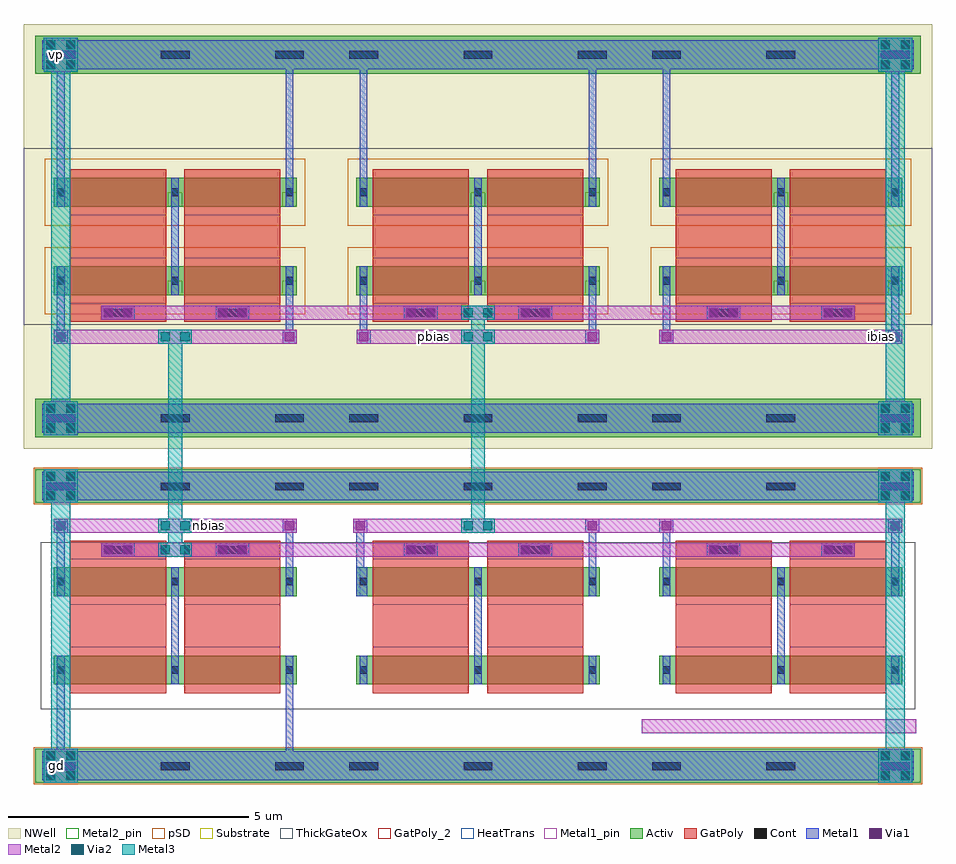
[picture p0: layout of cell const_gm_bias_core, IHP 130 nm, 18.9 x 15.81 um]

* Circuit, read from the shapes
.subckt const_gm_bias_core gd ibias nbias pbias vp
XM1 n1 nbias gd gd sg13_hv_nmos w=0.6u l=2u m=2
XM2 n1 nbias nbias gd sg13_hv_nmos w=0.6u l=2u m=2
XM3 n2 nbias n3 gd sg13_hv_nmos w=0.6u l=2u
XM4 n2 nbias pbias gd sg13_hv_nmos w=0.6u l=2u m=2
XM5 n4 nbias n2 gd sg13_hv_nmos w=0.6u l=2u
XM6 n5 nbias n6 gd sg13_hv_nmos w=0.6u l=2u
XM7 n5 nbias pbias gd sg13_hv_nmos w=0.6u l=2u m=2
XM8 n7 nbias n5 gd sg13_hv_nmos w=0.6u l=2u
XM9 n8 pbias nbias vp sg13_hv_pmos w=0.6u l=2u m=2
XM10 n8 pbias vp vp sg13_hv_pmos w=0.6u l=2u m=2
XM11 n9 pbias pbias vp sg13_hv_pmos w=0.6u l=2u m=2
XM12 n9 pbias vp vp sg13_hv_pmos w=0.6u l=2u m=2
XM13 n10 pbias ibias vp sg13_hv_pmos w=0.6u l=2u m=2
XM14 n10 pbias vp vp sg13_hv_pmos w=0.6u l=2u m=2
.ends

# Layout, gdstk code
import gdstk
lib = gdstk.Library(unit=1e-6, precision=1e-09)
def R(c, l, rs):  # rectangles x0, y0, x1, y1
    for r in rs: c.add(gdstk.rectangle(r[:2], r[2:], *l))
def A(c, l, x, y, w, h, nx, ny, dx, dy):  # array of equal rectangles
    R(c, l, [(x+i*dx, y+j*dy, x+i*dx+w, y+j*dy+h) for i in range(nx) for j in range(ny)])
Activ = (1, 0)
GatPoly = (5, 0)
GatPoly_2 = (5, 2)
Cont = (6, 0)
Metal1 = (8, 0)
Metal1_pin = (8, 2)
Metal2 = (10, 0)
Metal2_pin = (10, 2)
pSD = (14, 0)
Via1 = (19, 0)
Via2 = (29, 0)
Metal3 = (30, 0)
NWell = (31, 0)
Substrate = (40, 0)
ThickGateOx = (44, 0)
HeatTrans = (51, 0)

pmoshv_6 = lib.new_cell('pmosHV$6')
R(pmoshv_6, Activ, [(0,0,0.3,0.3), (0,0,2.68,0.6), (2.38,0,2.68,0.3)])
R(pmoshv_6, GatPoly, [(0.34,-0.18,2.34,0.78)])
R(pmoshv_6, GatPoly_2, [(0.34,-0.18,2.34,0.78)])
R(pmoshv_6, Cont, [(0.07,0.22,0.23,0.38), (2.45,0.22,2.61,0.38)])
R(pmoshv_6, Metal1, [(0.07,0,0.23,0.6), (2.45,0,2.61,0.6)])
R(pmoshv_6, Metal1_pin, [(0.07,0,0.23,0.6), (2.45,0,2.61,0.6)])
R(pmoshv_6, pSD, [(-0.18,-0.4,2.86,1)])
R(pmoshv_6, NWell, [(-0.62,-0.62,3.3,1.22)])
R(pmoshv_6, Substrate, [(2.38,0,2.68,0.3)])
R(pmoshv_6, ThickGateOx, [(-0.62,-0.62,3.3,1.22)])
R(pmoshv_6, HeatTrans, [(0.34,-0.18,2.34,0.78)])
pmoshv_6.add(gdstk.Label('pmosHV', (1.34,0.3), layer=63, texttype=0))
pmoshv_6.add(gdstk.Label('pmos', (1.34,0.3), layer=51, texttype=0))

nmoshv_6 = lib.new_cell('nmosHV$6')
R(nmoshv_6, Activ, [(0,0,0.3,0.3), (0,0,2.68,0.6), (2.38,0,2.68,0.3)])
R(nmoshv_6, GatPoly, [(0.34,-0.18,2.34,0.78)])
R(nmoshv_6, GatPoly_2, [(0.34,-0.18,2.34,0.78)])
R(nmoshv_6, Cont, [(0.07,0.22,0.23,0.38), (2.45,0.22,2.61,0.38)])
R(nmoshv_6, Metal1, [(0.07,0,0.23,0.6), (2.45,0,2.61,0.6)])
R(nmoshv_6, Metal1_pin, [(0.07,0,0.23,0.6), (2.45,0,2.61,0.6)])
R(nmoshv_6, ThickGateOx, [(-0.27,-0.52,2.95,1.12)])
R(nmoshv_6, HeatTrans, [(0.34,-0.18,2.34,0.78)])
nmoshv_6.add(gdstk.Label('nmosHV', (1.34,0.3), layer=63, texttype=0))
nmoshv_6.add(gdstk.Label('nmosHV', (1.34,0.3), layer=51, texttype=0))

via_stack = lib.new_cell('via_stack')
R(via_stack, Metal1, [(-0.35,-0.145,0.35,0.145)])
R(via_stack, Metal2, [(-0.35,-0.145,0.35,0.145)])
R(via_stack, Via1, [(-0.3,-0.095,-0.11,0.095), (0.11,-0.095,0.3,0.095)])

via_stack_1 = lib.new_cell('via_stack$1')
R(via_stack_1, Metal1, [(-0.145,-0.145,0.145,0.145)])
R(via_stack_1, Metal2, [(-0.145,-0.145,0.145,0.145)])
R(via_stack_1, Via1, [(-0.095,-0.095,0.095,0.095)])

via_stack_2 = lib.new_cell('via_stack$2')
R(via_stack_2, Metal2, [(-0.35,-0.145,0.35,0.145)])
R(via_stack_2, Via2, [(-0.3,-0.095,-0.11,0.095), (0.11,-0.095,0.3,0.095)])
R(via_stack_2, Metal3, [(-0.35,-0.145,0.35,0.145)])

via_stack_4 = lib.new_cell('via_stack$4')
R(via_stack_4, Metal1, [(-0.35,-0.35,0.35,0.35)])
R(via_stack_4, Metal2, [(-0.35,-0.35,0.35,0.35)])
R(via_stack_4, Via1, [(-0.3,-0.3,-0.11,-0.11), (0.11,-0.3,0.3,-0.11), (-0.3,0.11,-0.11,0.3), (0.11,0.11,0.3,0.3)])
R(via_stack_4, Via2, [(-0.3,-0.3,-0.11,-0.11), (0.11,-0.3,0.3,-0.11), (-0.3,0.11,-0.11,0.3), (0.11,0.11,0.3,0.3)])
R(via_stack_4, Metal3, [(-0.35,-0.35,0.35,0.35)])

const_gm_bias_core = lib.new_cell('const_gm_bias_core')
A(const_gm_bias_core, Cont, 0.47, -1.33, 0.6, 0.16, 3, 2, 2.38, 5.82)
A(const_gm_bias_core, Cont, 6.77, -1.33, 0.6, 0.16, 3, 2, 2.38, 5.82)
A(const_gm_bias_core, Cont, 13.07, -1.33, 0.6, 0.16, 3, 2, 2.38, 5.82)
A(const_gm_bias_core, Cont, 0.47, 5.91, 0.6, 0.16, 3, 2, 2.38, 7.56)
A(const_gm_bias_core, Cont, 6.77, 5.91, 0.6, 0.16, 3, 2, 2.38, 7.56)
A(const_gm_bias_core, Cont, 13.07, 5.91, 0.6, 0.16, 3, 2, 2.38, 7.56)
R(const_gm_bias_core, Cont, [(1.66,3.17,2.26,3.33), (4.04,3.17,4.64,3.33), (7.96,3.17,8.56,3.33), (10.34,3.17,10.94,3.33), (14.26,3.17,14.86,3.33), (16.64,3.17,17.24,3.33), (1.66,8.105,2.26,8.265), (4.04,8.105,4.64,8.265), (7.96,8.105,8.56,8.265), (10.34,8.105,10.94,8.265), (14.26,8.105,14.86,8.265), (16.64,8.105,17.24,8.265)])
R(const_gm_bias_core, Metal1_pin, [(0.39,-1.54,0.99,-0.94), (0.39,13.25,0.99,13.85)])
R(const_gm_bias_core, Metal2_pin, [(17.695,7.54,17.985,7.83)])
R(const_gm_bias_core, NWell, [(0,5.35,18.9,7.93), (0,11.61,18.9,14.19)])
R(const_gm_bias_core, ThickGateOx, [(0.35,-0.07,18.55,3.41)])
const_gm_bias_core.add(gdstk.FlexPath([(0.24,13.55),(18.66,13.55)], 0.8, ends="flush", simple_path=True, layer=1, datatype=0))  # Activ
const_gm_bias_core.add(gdstk.FlexPath([(0.24,4.58),(18.66,4.58)], 0.7, ends="flush", simple_path=True, layer=1, datatype=0))  # Activ
const_gm_bias_core.add(gdstk.FlexPath([(0.24,-1.24),(18.66,-1.24)], 0.7, ends="flush", simple_path=True, layer=1, datatype=0))  # Activ
const_gm_bias_core.add(gdstk.FlexPath([(0.24,5.99),(18.66,5.99)], 0.8, ends="flush", simple_path=True, layer=1, datatype=0))  # Activ
const_gm_bias_core.add(gdstk.FlexPath([(16.94,11.17),(16.94,8)], 2, ends="flush", simple_path=True, layer=5, datatype=0))  # GatPoly
const_gm_bias_core.add(gdstk.FlexPath([(14.56,11.17),(14.56,8)], 2, ends="flush", simple_path=True, layer=5, datatype=0))  # GatPoly
const_gm_bias_core.add(gdstk.FlexPath([(10.64,11.17),(10.64,8)], 2, ends="flush", simple_path=True, layer=5, datatype=0))  # GatPoly
const_gm_bias_core.add(gdstk.FlexPath([(8.26,11.17),(8.26,8)], 2, ends="flush", simple_path=True, layer=5, datatype=0))  # GatPoly
const_gm_bias_core.add(gdstk.FlexPath([(4.34,11.17),(4.34,8)], 2, ends="flush", simple_path=True, layer=5, datatype=0))  # GatPoly
const_gm_bias_core.add(gdstk.FlexPath([(1.96,11.17),(1.96,8)], 2, ends="flush", simple_path=True, layer=5, datatype=0))  # GatPoly
const_gm_bias_core.add(gdstk.FlexPath([(16.94,0.27),(16.94,3.44)], 2, ends="flush", simple_path=True, layer=5, datatype=0))  # GatPoly
const_gm_bias_core.add(gdstk.FlexPath([(14.56,0.27),(14.56,3.44)], 2, ends="flush", simple_path=True, layer=5, datatype=0))  # GatPoly
const_gm_bias_core.add(gdstk.FlexPath([(10.64,0.27),(10.64,3.44)], 2, ends="flush", simple_path=True, layer=5, datatype=0))  # GatPoly
const_gm_bias_core.add(gdstk.FlexPath([(8.26,0.27),(8.26,3.44)], 2, ends="flush", simple_path=True, layer=5, datatype=0))  # GatPoly
const_gm_bias_core.add(gdstk.FlexPath([(4.34,0.27),(4.34,3.44)], 2, ends="flush", simple_path=True, layer=5, datatype=0))  # GatPoly
const_gm_bias_core.add(gdstk.FlexPath([(1.96,0.27),(1.96,3.44)], 2, ends="flush", simple_path=True, layer=5, datatype=0))  # GatPoly
const_gm_bias_core.add(gdstk.FlexPath([(3.15,10.99),(3.15,8.55)], 0.16, ends="flush", simple_path=True, layer=8, datatype=0))  # Metal1
const_gm_bias_core.add(gdstk.FlexPath([(9.45,10.99),(9.45,8.55)], 0.16, ends="flush", simple_path=True, layer=8, datatype=0))  # Metal1
const_gm_bias_core.add(gdstk.FlexPath([(3.15,2.89),(3.15,0.45)], 0.16, ends="flush", simple_path=True, layer=8, datatype=0))  # Metal1
const_gm_bias_core.add(gdstk.FlexPath([(9.45,2.89),(9.45,0.45)], 0.16, ends="flush", simple_path=True, layer=8, datatype=0))  # Metal1
const_gm_bias_core.add(gdstk.FlexPath([(15.75,2.89),(15.75,0.45)], 0.16, ends="flush", simple_path=True, layer=8, datatype=0))  # Metal1
const_gm_bias_core.add(gdstk.FlexPath([(0.77,9.15),(0.77,7.54)], 0.16, ends="flush", simple_path=True, layer=8, datatype=0))  # Metal1
const_gm_bias_core.add(gdstk.FlexPath([(5.53,9.15),(5.53,7.54)], 0.16, ends="flush", simple_path=True, layer=8, datatype=0))  # Metal1
const_gm_bias_core.add(gdstk.FlexPath([(7.07,9.15),(7.07,7.54)], 0.16, ends="flush", simple_path=True, layer=8, datatype=0))  # Metal1
const_gm_bias_core.add(gdstk.FlexPath([(11.83,9.15),(11.83,7.54)], 0.16, ends="flush", simple_path=True, layer=8, datatype=0))  # Metal1
const_gm_bias_core.add(gdstk.FlexPath([(15.75,10.99),(15.75,8.55)], 0.16, ends="flush", simple_path=True, layer=8, datatype=0))  # Metal1
const_gm_bias_core.add(gdstk.FlexPath([(13.37,9.15),(13.37,7.54)], 0.16, ends="flush", simple_path=True, layer=8, datatype=0))  # Metal1
const_gm_bias_core.add(gdstk.FlexPath([(18.13,9.15),(18.13,7.54)], 0.16, ends="flush", simple_path=True, layer=8, datatype=0))  # Metal1
const_gm_bias_core.add(gdstk.FlexPath([(0.39,13.55),(18.51,13.55)], 0.6, ends="flush", simple_path=True, layer=8, datatype=0))  # Metal1
const_gm_bias_core.add(gdstk.FlexPath([(0.77,10.39),(0.77,13.85)], 0.16, ends="flush", simple_path=True, layer=8, datatype=0))  # Metal1
const_gm_bias_core.add(gdstk.FlexPath([(5.53,10.39),(5.53,13.85)], 0.16, ends="flush", simple_path=True, layer=8, datatype=0))  # Metal1
const_gm_bias_core.add(gdstk.FlexPath([(7.07,10.39),(7.07,13.85)], 0.16, ends="flush", simple_path=True, layer=8, datatype=0))  # Metal1
const_gm_bias_core.add(gdstk.FlexPath([(11.83,10.39),(11.83,13.85)], 0.16, ends="flush", simple_path=True, layer=8, datatype=0))  # Metal1
const_gm_bias_core.add(gdstk.FlexPath([(13.37,10.39),(13.37,13.85)], 0.16, ends="flush", simple_path=True, layer=8, datatype=0))  # Metal1
const_gm_bias_core.add(gdstk.FlexPath([(18.13,10.39),(18.13,13.85)], 0.16, ends="flush", simple_path=True, layer=8, datatype=0))  # Metal1
const_gm_bias_core.add(gdstk.FlexPath([(0.77,2.29),(0.77,3.9)], 0.16, ends="flush", simple_path=True, layer=8, datatype=0))  # Metal1
const_gm_bias_core.add(gdstk.FlexPath([(5.53,2.29),(5.53,3.9)], 0.16, ends="flush", simple_path=True, layer=8, datatype=0))  # Metal1
const_gm_bias_core.add(gdstk.FlexPath([(7,2.29),(7,3.9)], 0.16, ends="flush", simple_path=True, layer=8, datatype=0))  # Metal1
const_gm_bias_core.add(gdstk.FlexPath([(11.83,2.29),(11.83,3.9)], 0.16, ends="flush", simple_path=True, layer=8, datatype=0))  # Metal1
const_gm_bias_core.add(gdstk.FlexPath([(13.37,2.29),(13.37,3.9)], 0.16, ends="flush", simple_path=True, layer=8, datatype=0))  # Metal1
const_gm_bias_core.add(gdstk.FlexPath([(18.13,2.29),(18.13,3.9)], 0.16, ends="flush", simple_path=True, layer=8, datatype=0))  # Metal1
const_gm_bias_core.add(gdstk.FlexPath([(0.39,4.58),(18.51,4.58)], 0.6, ends="flush", simple_path=True, layer=8, datatype=0))  # Metal1
const_gm_bias_core.add(gdstk.FlexPath([(0.39,-1.24),(18.51,-1.24)], 0.6, ends="flush", simple_path=True, layer=8, datatype=0))  # Metal1
const_gm_bias_core.add(gdstk.FlexPath([(0.77,1.05),(0.77,-1.54)], 0.16, ends="flush", simple_path=True, layer=8, datatype=0))  # Metal1
const_gm_bias_core.add(gdstk.FlexPath([(5.53,1.05),(5.53,-1.54)], 0.16, ends="flush", simple_path=True, layer=8, datatype=0))  # Metal1
const_gm_bias_core.add(gdstk.FlexPath([(0.39,5.99),(18.51,5.99)], 0.6, ends="flush", simple_path=True, layer=8, datatype=0))  # Metal1
const_gm_bias_core.add(gdstk.FlexPath([(0.21,4.58),(18.69,4.58)], 0.76, ends="flush", simple_path=True, layer=14, datatype=0))  # pSD
const_gm_bias_core.add(gdstk.FlexPath([(0.21,-1.24),(18.69,-1.24)], 0.76, ends="flush", simple_path=True, layer=14, datatype=0))  # pSD
const_gm_bias_core.add(gdstk.FlexPath([(1.61,8.185),(17.29,8.185)], 0.29, ends="flush", simple_path=True, layer=10, datatype=0))  # Metal2
const_gm_bias_core.add(gdstk.FlexPath([(1.61,3.25),(17.29,3.25)], 0.29, ends="flush", simple_path=True, layer=10, datatype=0))  # Metal2
const_gm_bias_core.add(gdstk.FlexPath([(0.625,7.685),(5.675,7.685)], 0.29, ends="flush", simple_path=True, layer=10, datatype=0))  # Metal2
const_gm_bias_core.add(gdstk.FlexPath([(6.925,7.685),(11.975,7.685)], 0.29, ends="flush", simple_path=True, layer=10, datatype=0))  # Metal2
const_gm_bias_core.add(gdstk.FlexPath([(13.225,7.685),(18.275,7.685)], 0.29, ends="flush", simple_path=True, layer=10, datatype=0))  # Metal2
const_gm_bias_core.add(gdstk.FlexPath([(0.625,3.755),(5.675,3.755)], 0.29, ends="flush", simple_path=True, layer=10, datatype=0))  # Metal2
const_gm_bias_core.add(gdstk.FlexPath([(6.855,3.755),(18.275,3.755)], 0.29, ends="flush", simple_path=True, layer=10, datatype=0))  # Metal2
const_gm_bias_core.add(gdstk.FlexPath([(12.86,-0.415),(18.57,-0.415)], 0.29, ends="flush", simple_path=True, layer=10, datatype=0))  # Metal2
const_gm_bias_core.add(gdstk.FlexPath([(3.15,3.105),(3.15,7.83)], 0.29, ends="flush", simple_path=True, layer=30, datatype=0))  # Metal3
const_gm_bias_core.add(gdstk.FlexPath([(9.45,3.61),(9.45,8.33)], 0.29, ends="flush", simple_path=True, layer=30, datatype=0))  # Metal3
const_gm_bias_core.add(gdstk.FlexPath([(0.77,-1.59),(0.77,4.93)], 0.4, ends="flush", simple_path=True, layer=30, datatype=0))  # Metal3
const_gm_bias_core.add(gdstk.FlexPath([(18.13,-1.59),(18.13,4.93)], 0.4, ends="flush", simple_path=True, layer=30, datatype=0))  # Metal3
const_gm_bias_core.add(gdstk.FlexPath([(18.13,5.64),(18.13,13.8)], 0.4, ends="flush", simple_path=True, layer=30, datatype=0))  # Metal3
const_gm_bias_core.add(gdstk.FlexPath([(0.77,5.64),(0.77,13.8)], 0.4, ends="flush", simple_path=True, layer=30, datatype=0))  # Metal3
const_gm_bias_core.add(gdstk.Reference(pmoshv_6, (0.62,10.39)))
const_gm_bias_core.add(gdstk.Reference(pmoshv_6, (0.62,8.55)))
const_gm_bias_core.add(gdstk.Reference(pmoshv_6, (3,10.39)))
const_gm_bias_core.add(gdstk.Reference(pmoshv_6, (3,8.55)))
const_gm_bias_core.add(gdstk.Reference(pmoshv_6, (6.92,10.39)))
const_gm_bias_core.add(gdstk.Reference(pmoshv_6, (6.92,8.55)))
const_gm_bias_core.add(gdstk.Reference(pmoshv_6, (9.3,10.39)))
const_gm_bias_core.add(gdstk.Reference(pmoshv_6, (9.3,8.55)))
const_gm_bias_core.add(gdstk.Reference(pmoshv_6, (13.22,10.39)))
const_gm_bias_core.add(gdstk.Reference(pmoshv_6, (13.22,8.55)))
const_gm_bias_core.add(gdstk.Reference(pmoshv_6, (15.6,10.39)))
const_gm_bias_core.add(gdstk.Reference(pmoshv_6, (15.6,8.55)))
const_gm_bias_core.add(gdstk.Reference(nmoshv_6, (0.62,2.29)))
const_gm_bias_core.add(gdstk.Reference(nmoshv_6, (3,2.29)))
const_gm_bias_core.add(gdstk.Reference(nmoshv_6, (3,0.45)))
const_gm_bias_core.add(gdstk.Reference(nmoshv_6, (6.92,2.29)))
const_gm_bias_core.add(gdstk.Reference(nmoshv_6, (6.92,0.45)))
const_gm_bias_core.add(gdstk.Reference(nmoshv_6, (9.3,2.29)))
const_gm_bias_core.add(gdstk.Reference(nmoshv_6, (9.3,0.45)))
const_gm_bias_core.add(gdstk.Reference(nmoshv_6, (13.22,2.29)))
const_gm_bias_core.add(gdstk.Reference(nmoshv_6, (13.22,0.45)))
const_gm_bias_core.add(gdstk.Reference(nmoshv_6, (15.6,2.29)))
const_gm_bias_core.add(gdstk.Reference(nmoshv_6, (15.6,0.45)))
const_gm_bias_core.add(gdstk.Reference(via_stack, (16.94,8.185), x_reflection=True))
const_gm_bias_core.add(gdstk.Reference(via_stack, (14.56,8.185), x_reflection=True))
const_gm_bias_core.add(gdstk.Reference(via_stack, (10.64,8.185), x_reflection=True))
const_gm_bias_core.add(gdstk.Reference(via_stack, (8.26,8.185), x_reflection=True))
const_gm_bias_core.add(gdstk.Reference(via_stack, (4.34,8.185), x_reflection=True))
const_gm_bias_core.add(gdstk.Reference(via_stack, (1.96,8.185), x_reflection=True))
const_gm_bias_core.add(gdstk.Reference(via_stack, (16.94,3.25)))
const_gm_bias_core.add(gdstk.Reference(via_stack, (14.56,3.25)))
const_gm_bias_core.add(gdstk.Reference(via_stack, (10.64,3.25)))
const_gm_bias_core.add(gdstk.Reference(via_stack, (8.26,3.25)))
const_gm_bias_core.add(gdstk.Reference(via_stack, (4.34,3.25)))
const_gm_bias_core.add(gdstk.Reference(via_stack, (1.96,3.25)))
const_gm_bias_core.add(gdstk.Reference(nmoshv_6, (0.62,0.45)))
const_gm_bias_core.add(gdstk.Reference(via_stack_1, (0.77,7.685)))
const_gm_bias_core.add(gdstk.Reference(via_stack_1, (5.53,7.685)))
const_gm_bias_core.add(gdstk.Reference(via_stack_1, (7.07,7.685)))
const_gm_bias_core.add(gdstk.Reference(via_stack_1, (11.83,7.685)))
const_gm_bias_core.add(gdstk.Reference(via_stack_1, (13.37,7.685)))
const_gm_bias_core.add(gdstk.Reference(via_stack_1, (18.13,7.685)))
const_gm_bias_core.add(gdstk.Reference(via_stack_1, (0.77,3.755)))
const_gm_bias_core.add(gdstk.Reference(via_stack_1, (5.53,3.755)))
const_gm_bias_core.add(gdstk.Reference(via_stack_1, (7,3.755)))
const_gm_bias_core.add(gdstk.Reference(via_stack_1, (11.83,3.755)))
const_gm_bias_core.add(gdstk.Reference(via_stack_1, (13.37,3.755)))
const_gm_bias_core.add(gdstk.Reference(via_stack_1, (18.13,3.755)))
const_gm_bias_core.add(gdstk.Reference(via_stack_2, (3.15,7.685)))
const_gm_bias_core.add(gdstk.Reference(via_stack_2, (3.15,3.755)))
const_gm_bias_core.add(gdstk.Reference(via_stack_2, (9.45,7.685)))
const_gm_bias_core.add(gdstk.Reference(via_stack_2, (9.45,3.755)))
const_gm_bias_core.add(gdstk.Reference(via_stack_2, (3.15,3.25)))
const_gm_bias_core.add(gdstk.Reference(via_stack_2, (9.45,8.185)))
const_gm_bias_core.add(gdstk.Reference(via_stack_4, (0.77,4.58)))
const_gm_bias_core.add(gdstk.Reference(via_stack_4, (0.77,-1.24)))
const_gm_bias_core.add(gdstk.Reference(via_stack_4, (18.13,4.58)))
const_gm_bias_core.add(gdstk.Reference(via_stack_4, (18.13,-1.24)))
const_gm_bias_core.add(gdstk.Reference(via_stack_4, (18.13,13.55)))
const_gm_bias_core.add(gdstk.Reference(via_stack_4, (0.77,13.55)))
const_gm_bias_core.add(gdstk.Reference(via_stack_4, (0.77,5.99)))
const_gm_bias_core.add(gdstk.Reference(via_stack_4, (18.13,5.99)))
const_gm_bias_core.add(gdstk.Label('nbias', (3.85,3.755), layer=10, texttype=25))
const_gm_bias_core.add(gdstk.Label('pbias', (8.521,7.681), layer=10, texttype=25))
const_gm_bias_core.add(gdstk.Label('ibias', (17.84,7.685), layer=10, texttype=25))
const_gm_bias_core.add(gdstk.Label('vp', (0.69,13.55), layer=8, texttype=25))
const_gm_bias_core.add(gdstk.Label('gd', (0.69,-1.24), layer=8, texttype=25))

lib.write_gds('const_gm_bias_core.gds')
